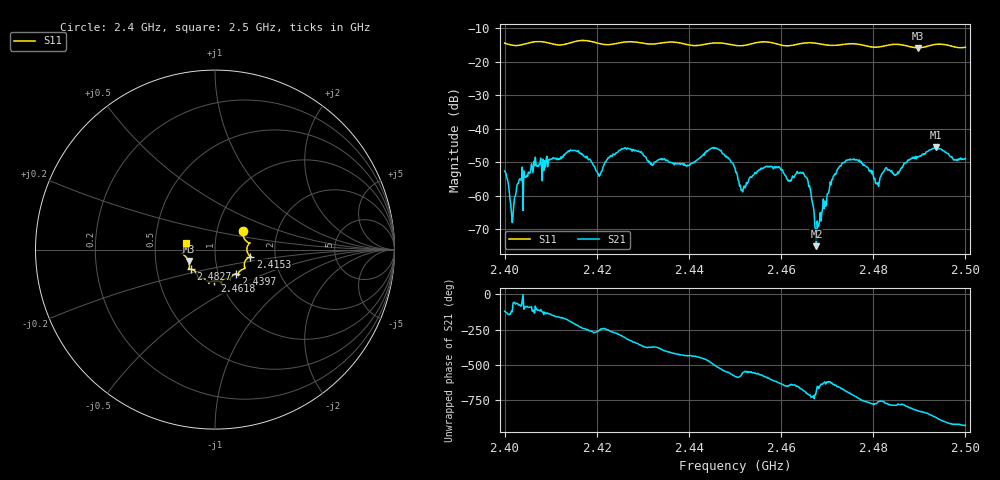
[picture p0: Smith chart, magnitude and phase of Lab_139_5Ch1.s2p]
# Hz S RI R 50
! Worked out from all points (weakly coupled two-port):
!   601 points, 2.4 GHz to 2.5 GHz, reference 50 ohm
!   highest |S21| = -45.60 dB at 2.4937 GHz (marker M1); lowest = -75.1 dB at 2.4677 GHz (marker M2)
!   lowest |S11| = -15.9 dB at 2.4897 GHz (marker M3), VSWR 1.38, Z = 36.9 - j4.85 ohm
!   |S11| at or under -10 dB: start of sweep to end of sweep
!   S12 and S22 are empty: the file has one direction only
!   S11 on the Smith chart (normalised r, x): 2.4 GHz: 1.33, +0.29; 2.4153 GHz: 1.48, -0.12; 2.4397 GHz: 1.21, -0.34; 2.4618 GHz: 0.94, -0.33; 2.4827 GHz: 0.75, -0.17; 2.5 GHz: 0.72, +0.06
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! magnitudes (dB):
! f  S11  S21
! 2.4 GHz  -14.5  -52.7
! 2.4017 GHz  -15.1  -68.1
! 2.4062 GHz  -14.2  -53.2
! 2.4153 GHz  -14.0  -46.6
! 2.4167 GHz  -13.7  -47.7
! 2.4205 GHz  -14.6  -54.3
! 2.4258 GHz  -14.2  -45.9
! 2.4333 GHz  -14.6  -49.4
! 2.4397 GHz  -14.9  -50.9
! 2.4455 GHz  -14.4  -45.7
! 2.45 GHz  -15.1  -51.8
! 2.4517 GHz  -15.2  -58.9
! 2.4618 GHz  -15.3  -55.8
! 2.4647 GHz  -14.5  -53.1
! 2.4667 GHz  -14.4  -61.2
! 2.4677 GHz  -14.5  -75.1
! 2.4737 GHz  -14.8  -50.1
! 2.4827 GHz  -15.2  -52.0
! 2.4833 GHz  -15.1  -52.3
! 2.4897 GHz  -15.9  -48.5
! 2.4937 GHz  -14.8  -45.6
! 2.5 GHz  -15.7  -48.9
